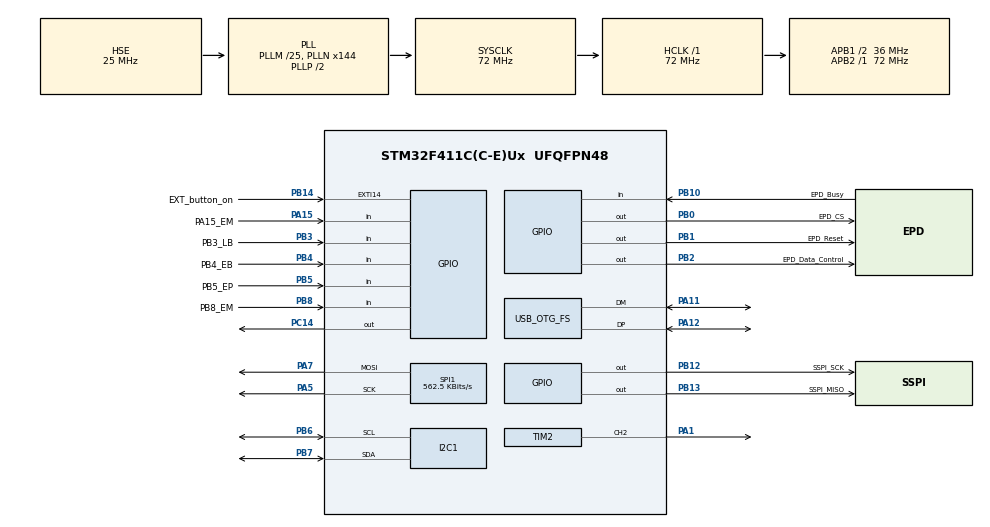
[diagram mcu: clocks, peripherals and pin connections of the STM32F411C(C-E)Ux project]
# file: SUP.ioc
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Dma.I2C1_RX.2.Direction=DMA_PERIPH_TO_MEMORY
Dma.I2C1_RX.2.FIFOMode=DMA_FIFOMODE_DISABLE
Dma.I2C1_RX.2.Instance=DMA1_Stream0
Dma.I2C1_RX.2.MemDataAlignment=DMA_MDATAALIGN_HALFWORD
Dma.I2C1_RX.2.MemInc=DMA_MINC_DISABLE
Dma.I2C1_RX.2.Mode=DMA_NORMAL
Dma.I2C1_RX.2.PeriphDataAlignment=DMA_PDATAALIGN_HALFWORD
Dma.I2C1_RX.2.PeriphInc=DMA_PINC_DISABLE
Dma.I2C1_RX.2.Priority=DMA_PRIORITY_LOW
Dma.I2C1_TX.1.Direction=DMA_MEMORY_TO_PERIPH
Dma.I2C1_TX.1.FIFOMode=DMA_FIFOMODE_DISABLE
Dma.I2C1_TX.1.Instance=DMA1_Stream1
Dma.I2C1_TX.1.MemDataAlignment=DMA_MDATAALIGN_HALFWORD
Dma.I2C1_TX.1.MemInc=DMA_MINC_DISABLE
Dma.I2C1_TX.1.Mode=DMA_NORMAL
Dma.I2C1_TX.1.PeriphDataAlignment=DMA_PDATAALIGN_HALFWORD
Dma.I2C1_TX.1.PeriphInc=DMA_PINC_DISABLE
Dma.I2C1_TX.1.Priority=DMA_PRIORITY_LOW
Dma.Request0=TIM2_CH2/CH4
Dma.Request1=I2C1_TX
Dma.Request2=I2C1_RX
Dma.TIM2_CH2/CH4.0.Direction=DMA_MEMORY_TO_PERIPH
Dma.TIM2_CH2/CH4.0.FIFOMode=DMA_FIFOMODE_ENABLE
Dma.TIM2_CH2/CH4.0.FIFOThreshold=DMA_FIFO_THRESHOLD_FULL
Dma.TIM2_CH2/CH4.0.Instance=DMA1_Stream6
Dma.TIM2_CH2/CH4.0.MemBurst=DMA_MBURST_SINGLE
Dma.TIM2_CH2/CH4.0.MemDataAlignment=DMA_MDATAALIGN_BYTE
Dma.TIM2_CH2/CH4.0.MemInc=DMA_MINC_ENABLE
Dma.TIM2_CH2/CH4.0.Mode=DMA_CIRCULAR
Dma.TIM2_CH2/CH4.0.PeriphBurst=DMA_PBURST_SINGLE
Dma.TIM2_CH2/CH4.0.PeriphDataAlignment=DMA_PDATAALIGN_WORD
Dma.TIM2_CH2/CH4.0.PeriphInc=DMA_PINC_DISABLE
Dma.TIM2_CH2/CH4.0.Priority=DMA_PRIORITY_LOW
FREERTOS.Mutexes01=BlockI2C,Dynamic,NULL
FREERTOS.Tasks01=InitTask,24,512,StartInitTask,Default,NULL,Dynamic,NULL,NULL
FREERTOS.Timers01=TestTimer,CallbackTT,osTimerPeriodic,Default,NULL,Dynamic,NULL
FREERTOS.configUSE_NEWLIB_REENTRANT=1
I2C1.I2C_Mode=I2C_Standard
Mcu.Family=STM32F4
Mcu.Name=STM32F411C(C-E)Ux
Mcu.Package=UFQFPN48
NVIC.DMA1_Stream0_IRQn=true\:5\:0\:false\:false\:true\:true\:false\:true\:true
NVIC.DMA1_Stream1_IRQn=true\:5\:0\:false\:false\:true\:true\:false\:true\:true
NVIC.DMA1_Stream6_IRQn=true\:5\:0\:false\:false\:true\:true\:false\:true\:true
NVIC.EXTI15_10_IRQn=true\:5\:0\:false\:false\:true\:true\:true\:true\:true
NVIC.I2C1_ER_IRQn=true\:5\:0\:false\:false\:true\:true\:true\:true\:true
NVIC.I2C1_EV_IRQn=true\:5\:0\:false\:false\:true\:true\:true\:true\:true
NVIC.OTG_FS_IRQn=true\:5\:0\:false\:false\:true\:true\:false\:true\:true
NVIC.PriorityGroup=NVIC_PRIORITYGROUP_4
NVIC.TIM1_BRK_TIM9_IRQn=true\:15\:0\:false\:false\:true\:false\:false\:true\:true
NVIC.TimeBase=TIM1_BRK_TIM9_IRQn
NVIC.TimeBaseIP=TIM9
PA1.GPIO_Speed=GPIO_SPEED_FREQ_HIGH
PA1.Signal=S_TIM2_CH2
PA11.Mode=Device_Only
PA11.Signal=USB_OTG_FS_DM
PA12.Mode=Device_Only
PA12.Signal=USB_OTG_FS_DP
PA13.Mode=Serial_Wire
PA13.Signal=SYS_JTMS-SWDIO
PA14.Mode=Serial_Wire
PA14.Signal=SYS_JTCK-SWCLK
PA15.GPIO_Label=PA15_EM
PA15.GPIO_PuPd=GPIO_PULLDOWN
PA15.Signal=GPIO_Input
PA5.Mode=TX_Only_Simplex_Unidirect_Master
PA5.Signal=SPI1_SCK
PA7.Mode=TX_Only_Simplex_Unidirect_Master
PA7.Signal=SPI1_MOSI
PB0.GPIO_Label=EPD_CS
PB0.Signal=GPIO_Output
PB1.GPIO_Label=EPD_Reset
PB1.Signal=GPIO_Output
PB10.GPIO_Label=EPD_Busy
PB10.GPIO_PuPd=GPIO_PULLDOWN
PB10.Signal=GPIO_Input
PB12.GPIO_Label=SSPI_SCK
PB12.Signal=GPIO_Output
PB13.GPIO_Label=SSPI_MISO
PB13.Signal=GPIO_Output
PB14.GPIO_Label=EXT_button_on
PB14.GPIO_ModeDefaultEXTI=GPIO_MODE_IT_FALLING
PB14.GPIO_PuPd=GPIO_PULLUP
PB14.Signal=GPXTI14
PB2.GPIO_Label=EPD_Data_Control
PB2.Signal=GPIO_Output
PB3.GPIO_Label=PB3_LB
PB3.GPIO_PuPd=GPIO_PULLDOWN
PB3.Signal=GPIO_Input
PB4.GPIO_Label=PB4_EB
PB4.GPIO_PuPd=GPIO_PULLDOWN
PB4.Signal=GPIO_Input
PB5.GPIO_Label=PB5_EP
PB5.GPIO_PuPd=GPIO_PULLDOWN
PB5.Signal=GPIO_Input
PB6.Mode=I2C
PB6.Signal=I2C1_SCL
PB7.Mode=I2C
PB7.Signal=I2C1_SDA
PB8.GPIO_Label=PB8_EM
PB8.GPIO_PuPd=GPIO_PULLUP
PB8.Signal=GPIO_Input
PC14-OSC32_IN.Signal=GPIO_Output
PH0\ -\ OSC_IN.Mode=HSE-External-Oscillator
PH0\ -\ OSC_IN.Signal=RCC_OSC_IN
PH1\ -\ OSC_OUT.Mode=HSE-External-Oscillator
PH1\ -\ OSC_OUT.Signal=RCC_OSC_OUT
ProjectManager.HeapSize=0x3000
ProjectManager.StackSize=0x5000
ProjectManager.TargetToolchain=STM32CubeIDE
RCC.48MHZClocksFreq_Value=48000000
RCC.AHBFreq_Value=72000000
RCC.APB1CLKDivider=RCC_HCLK_DIV2
RCC.APB1Freq_Value=36000000
RCC.APB1TimFreq_Value=72000000
RCC.APB2Freq_Value=72000000
RCC.APB2TimFreq_Value=72000000
RCC.CortexFreq_Value=72000000
RCC.HCLKFreq_Value=72000000
RCC.HSE_VALUE=25000000
RCC.HSI_VALUE=16000000
RCC.LSE_VALUE=32768
RCC.PLLM=25
RCC.PLLN=144
RCC.PLLQ=3
RCC.SYSCLKFreq_VALUE=72000000
RCC.SYSCLKSource=RCC_SYSCLKSOURCE_PLLCLK
RCC.VCOOutputFreq_Value=144000000
SH.S_TIM2_CH2.0=TIM2_CH2,PWM Generation2 CH2
SPI1.BaudRatePrescaler=SPI_BAUDRATEPRESCALER_128
SPI1.CalculateBaudRate=562.5 KBits/s
SPI1.Direction=SPI_DIRECTION_2LINES
SPI1.Mode=SPI_MODE_MASTER
SPI1.VirtualType=VM_MASTER
TIM2.Channel-PWM\ Generation2\ CH2=TIM_CHANNEL_2
TIM2.Period=89
USB_DEVICE.APP_RX_DATA_SIZE=1024
USB_DEVICE.APP_TX_DATA_SIZE=1024
USB_DEVICE.CLASS_NAME_FS=CDC
USB_DEVICE.USBD_DEBUG_LEVEL=0
USB_DEVICE.VirtualMode=Cdc
USB_DEVICE.VirtualModeFS=Cdc_FS
USB_OTG_FS.VirtualMode=Device_Only
VP_FREERTOS_VS_CMSIS_V2.Mode=CMSIS_V2
VP_SYS_VS_tim9.Mode=TIM9
VP_TIM2_VS_ClockSourceINT.Mode=Internal
VP_USB_DEVICE_VS_USB_DEVICE_CDC_FS.Mode=CDC_FS
board=custom

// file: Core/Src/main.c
/* USER CODE BEGIN Header */
/**
  ******************************************************************************
  * @file           : main.c
  * @brief          : Main program body
  ******************************************************************************
  * @attention
  *
  * Copyright (c) 2023 STMicroelectronics.
  * All rights reserved.
  *
  * This software is licensed under terms that can be found in the LICENSE file
  * in the root directory of this software component.
  * If no LICENSE file comes with this software, it is provided AS-IS.
  *
  ******************************************************************************
  */
/* USER CODE END Header */
#include "main.h"
#include "cmsis_os.h"
#include "usb_device.h"

/* USER CODE BEGIN Includes */
//#include "Display/e-ink/picture.h"
#include "app_menu/app_menu.h"
#include <stdlib.h>

/* Private includes ----------------------------------------------------------*/
/* USER CODE BEGIN Includes */
/* USER CODE END Includes */

/* USER CODE BEGIN PTD */
//uint16_t global_DAC;

/* USER CODE END PTD */

/* USER CODE BEGIN PM */
uint8_t devises_list[10] = {};
HAL_StatusTypeDef stateDevise;
HAL_StatusTypeDef stateEXP_GPIO;
/* USER CODE END PM */

I2C_HandleTypeDef hi2c1;
DMA_HandleTypeDef hdma_i2c1_tx;
DMA_HandleTypeDef hdma_i2c1_rx;

SPI_HandleTypeDef hspi1;

TIM_HandleTypeDef htim2;
DMA_HandleTypeDef hdma_tim2_ch2_ch4;

/* Definitions for InitTask */
osThreadId_t InitTaskHandle;
const osThreadAttr_t InitTask_attributes = {
  .name = "InitTask",
  .stack_size = 512 * 4,
  .priority = (osPriority_t) osPriorityNormal,
};
/* Definitions for TestTimer */
osTimerId_t TestTimerHandle;
const osTimerAttr_t TestTimer_attributes = {
  .name = "TestTimer"
};
/* Definitions for BlockI2C */
osMutexId_t BlockI2CHandle;
const osMutexAttr_t BlockI2C_attributes = {
  .name = "BlockI2C"
};

void SystemClock_Config(void);
static void MX_GPIO_Init(void);
static void MX_DMA_Init(void);
static void MX_I2C1_Init(void);
static void MX_SPI1_Init(void);
static void MX_TIM2_Init(void);
void StartInitTask(void *argument);
void CallbackTT(void *argument);

int main(void)
{
  /* MCU Configuration--------------------------------------------------------*/

  /* Reset of all peripherals, Initializes the Flash interface and the Systick. */
  HAL_Init();

  /* Configure the system clock */
  SystemClock_Config();

  /* Initialize all configured peripherals */
  MX_GPIO_Init();
  MX_DMA_Init();
  MX_I2C1_Init();
  MX_SPI1_Init();
  MX_TIM2_Init();
  /* USER CODE BEGIN 2 */
  HAL_Delay(500);
  HAL_StatusTypeDef state;
  uint8_t adr_i2c[8] = {0};
  uint8_t j = 0;
  for(uint8_t i = 1; i < 128; i++){
	  state = HAL_I2C_IsDeviceReady(&hi2c1, (i << 1), 2, 5);
	  if(state == HAL_OK){
		  adr_i2c[j] = i;
		  j++;
	  }
  }
  BlockI2CHandle = osMutexNew(&BlockI2C_attributes);
    /* USER CODE END 2 */

  /* Init scheduler */
  osKernelInitialize();
  /* Create the mutex(es) */
  /* creation of BlockI2C */
  BlockI2CHandle = osMutexNew(&BlockI2C_attributes);

  /* Create the timer(s) */
  /* creation of TestTimer */
  TestTimerHandle = osTimerNew(CallbackTT, osTimerPeriodic, NULL, &TestTimer_attributes);

  /* Create the thread(s) */
  /* creation of InitTask */
  InitTaskHandle = osThreadNew(StartInitTask, NULL, &InitTask_attributes);

  /* USER CODE BEGIN RTOS_THREADS */
  /* add threads, ... */
  initUserTasks();
  /* USER CODE END RTOS_THREADS */

  /* Start scheduler */
  osKernelStart();

  /* We should never get here as control is now taken by the scheduler */
  /* Infinite loop */
  while (1)
  {

  }
}

void SystemClock_Config(void)
{
  RCC_OscInitTypeDef RCC_OscInitStruct = {0};
  RCC_ClkInitTypeDef RCC_ClkInitStruct = {0};

  /** Configure the main internal regulator output voltage
  */
  __HAL_RCC_PWR_CLK_ENABLE();
  __HAL_PWR_VOLTAGESCALING_CONFIG(PWR_REGULATOR_VOLTAGE_SCALE1);

  /** Initializes the RCC Oscillators according to the specified parameters
  * in the RCC_OscInitTypeDef structure.
  */
  RCC_OscInitStruct.OscillatorType = RCC_OSCILLATORTYPE_HSE;
  RCC_OscInitStruct.HSEState = RCC_HSE_ON;
  RCC_OscInitStruct.PLL.PLLState = RCC_PLL_ON;
  RCC_OscInitStruct.PLL.PLLSource = RCC_PLLSOURCE_HSE;
  RCC_OscInitStruct.PLL.PLLM = 25;
  RCC_OscInitStruct.PLL.PLLN = 144;
  RCC_OscInitStruct.PLL.PLLP = RCC_PLLP_DIV2;
  RCC_OscInitStruct.PLL.PLLQ = 3;
  if (HAL_RCC_OscConfig(&RCC_OscInitStruct) != HAL_OK)
  {
    Error_Handler();
  }

  /** Initializes the CPU, AHB and APB buses clocks
  */
  RCC_ClkInitStruct.ClockType = RCC_CLOCKTYPE_HCLK|RCC_CLOCKTYPE_SYSCLK
                              |RCC_CLOCKTYPE_PCLK1|RCC_CLOCKTYPE_PCLK2;
  RCC_ClkInitStruct.SYSCLKSource = RCC_SYSCLKSOURCE_PLLCLK;
  RCC_ClkInitStruct.AHBCLKDivider = RCC_SYSCLK_DIV1;
  RCC_ClkInitStruct.APB1CLKDivider = RCC_HCLK_DIV2;
  RCC_ClkInitStruct.APB2CLKDivider = RCC_HCLK_DIV1;

  if (HAL_RCC_ClockConfig(&RCC_ClkInitStruct, FLASH_LATENCY_2) != HAL_OK)
  {
    Error_Handler();
  }
}

static void MX_I2C1_Init(void)
{

  hi2c1.Instance = I2C1;
  hi2c1.Init.ClockSpeed = 100000;
  hi2c1.Init.DutyCycle = I2C_DUTYCYCLE_2;
  hi2c1.Init.OwnAddress1 = 0;
  hi2c1.Init.AddressingMode = I2C_ADDRESSINGMODE_7BIT;
  hi2c1.Init.DualAddressMode = I2C_DUALADDRESS_DISABLE;
  hi2c1.Init.OwnAddress2 = 0;
  hi2c1.Init.GeneralCallMode = I2C_GENERALCALL_DISABLE;
  hi2c1.Init.NoStretchMode = I2C_NOSTRETCH_DISABLE;
  if (HAL_I2C_Init(&hi2c1) != HAL_OK)
  {
    Error_Handler();
  }

}

static void MX_SPI1_Init(void)
{

  /* SPI1 parameter configuration*/
  hspi1.Instance = SPI1;
  hspi1.Init.Mode = SPI_MODE_MASTER;
  hspi1.Init.Direction = SPI_DIRECTION_2LINES;
  hspi1.Init.DataSize = SPI_DATASIZE_8BIT;
  hspi1.Init.CLKPolarity = SPI_POLARITY_LOW;
  hspi1.Init.CLKPhase = SPI_PHASE_1EDGE;
  hspi1.Init.NSS = SPI_NSS_SOFT;
  hspi1.Init.BaudRatePrescaler = SPI_BAUDRATEPRESCALER_128;
  hspi1.Init.FirstBit = SPI_FIRSTBIT_MSB;
  hspi1.Init.TIMode = SPI_TIMODE_DISABLE;
  hspi1.Init.CRCCalculation = SPI_CRCCALCULATION_DISABLE;
  hspi1.Init.CRCPolynomial = 10;
  if (HAL_SPI_Init(&hspi1) != HAL_OK)
  {
    Error_Handler();
  }

}

static void MX_TIM2_Init(void)
{

  TIM_ClockConfigTypeDef sClockSourceConfig = {0};
  TIM_MasterConfigTypeDef sMasterConfig = {0};
  TIM_OC_InitTypeDef sConfigOC = {0};

  htim2.Instance = TIM2;
  htim2.Init.Prescaler = 0;
  htim2.Init.CounterMode = TIM_COUNTERMODE_UP;
  htim2.Init.Period = 89;
  htim2.Init.ClockDivision = TIM_CLOCKDIVISION_DIV1;
  htim2.Init.AutoReloadPreload = TIM_AUTORELOAD_PRELOAD_DISABLE;
  if (HAL_TIM_Base_Init(&htim2) != HAL_OK)
  {
    Error_Handler();
  }
  sClockSourceConfig.ClockSource = TIM_CLOCKSOURCE_INTERNAL;
  if (HAL_TIM_ConfigClockSource(&htim2, &sClockSourceConfig) != HAL_OK)
  {
    Error_Handler();
  }
  if (HAL_TIM_PWM_Init(&htim2) != HAL_OK)
  {
    Error_Handler();
  }
  sMasterConfig.MasterOutputTrigger = TIM_TRGO_RESET;
  sMasterConfig.MasterSlaveMode = TIM_MASTERSLAVEMODE_DISABLE;
  if (HAL_TIMEx_MasterConfigSynchronization(&htim2, &sMasterConfig) != HAL_OK)
  {
    Error_Handler();
  }
  sConfigOC.OCMode = TIM_OCMODE_PWM1;
  sConfigOC.Pulse = 0;
  sConfigOC.OCPolarity = TIM_OCPOLARITY_HIGH;
  sConfigOC.OCFastMode = TIM_OCFAST_DISABLE;
  if (HAL_TIM_PWM_ConfigChannel(&htim2, &sConfigOC, TIM_CHANNEL_2) != HAL_OK)
  {
    Error_Handler();
  }
  HAL_TIM_MspPostInit(&htim2);

}

static void MX_DMA_Init(void)
{

  /* DMA controller clock enable */
  __HAL_RCC_DMA1_CLK_ENABLE();

  /* DMA interrupt init */
  /* DMA1_Stream0_IRQn interrupt configuration */
  HAL_NVIC_SetPriority(DMA1_Stream0_IRQn, 5, 0);
  HAL_NVIC_EnableIRQ(DMA1_Stream0_IRQn);
  /* DMA1_Stream1_IRQn interrupt configuration */
  HAL_NVIC_SetPriority(DMA1_Stream1_IRQn, 5, 0);
  HAL_NVIC_EnableIRQ(DMA1_Stream1_IRQn);
  /* DMA1_Stream6_IRQn interrupt configuration */
  HAL_NVIC_SetPriority(DMA1_Stream6_IRQn, 5, 0);
  HAL_NVIC_EnableIRQ(DMA1_Stream6_IRQn);

}

static void MX_GPIO_Init(void)
{
  GPIO_InitTypeDef GPIO_InitStruct = {0};

  /* GPIO Ports Clock Enable */
  __HAL_RCC_GPIOC_CLK_ENABLE();
  __HAL_RCC_GPIOH_CLK_ENABLE();
  __HAL_RCC_GPIOA_CLK_ENABLE();
  __HAL_RCC_GPIOB_CLK_ENABLE();

  /*Configure GPIO pin Output Level */
  HAL_GPIO_WritePin(GPIOC, GPIO_PIN_14, GPIO_PIN_RESET);

  /*Configure GPIO pin Output Level */
  HAL_GPIO_WritePin(GPIOB, EPD_CS_Pin|EPD_Reset_Pin|EPD_Data_Control_Pin|SSPI_SCK_Pin
                          |SSPI_MISO_Pin, GPIO_PIN_RESET);

  /*Configure GPIO pin : PC14 */
  GPIO_InitStruct.Pin = GPIO_PIN_14;
  GPIO_InitStruct.Mode = GPIO_MODE_OUTPUT_PP;
  GPIO_InitStruct.Pull = GPIO_NOPULL;
  GPIO_InitStruct.Speed = GPIO_SPEED_FREQ_LOW;
  HAL_GPIO_Init(GPIOC, &GPIO_InitStruct);

  /*Configure GPIO pins : EPD_CS_Pin EPD_Reset_Pin EPD_Data_Control_Pin SSPI_SCK_Pin
                           SSPI_MISO_Pin */
  GPIO_InitStruct.Pin = EPD_CS_Pin|EPD_Reset_Pin|EPD_Data_Control_Pin|SSPI_SCK_Pin
                          |SSPI_MISO_Pin;
  GPIO_InitStruct.Mode = GPIO_MODE_OUTPUT_PP;
  GPIO_InitStruct.Pull = GPIO_NOPULL;
  GPIO_InitStruct.Speed = GPIO_SPEED_FREQ_LOW;
  HAL_GPIO_Init(GPIOB, &GPIO_InitStruct);

  /*Configure GPIO pins : EPD_Busy_Pin PB3_LB_Pin PB4_EB_Pin PB5_EP_Pin */
  GPIO_InitStruct.Pin = EPD_Busy_Pin|PB3_LB_Pin|PB4_EB_Pin|PB5_EP_Pin;
  GPIO_InitStruct.Mode = GPIO_MODE_INPUT;
  GPIO_InitStruct.Pull = GPIO_PULLDOWN;
  HAL_GPIO_Init(GPIOB, &GPIO_InitStruct);

  /*Configure GPIO pin : EXT_button_on_Pin */
  GPIO_InitStruct.Pin = EXT_button_on_Pin;
  GPIO_InitStruct.Mode = GPIO_MODE_IT_FALLING;
  GPIO_InitStruct.Pull = GPIO_PULLUP;
  HAL_GPIO_Init(EXT_button_on_GPIO_Port, &GPIO_InitStruct);

  /*Configure GPIO pin : PA15_EM_Pin */
  GPIO_InitStruct.Pin = PA15_EM_Pin;
  GPIO_InitStruct.Mode = GPIO_MODE_INPUT;
  GPIO_InitStruct.Pull = GPIO_PULLDOWN;
  HAL_GPIO_Init(PA15_EM_GPIO_Port, &GPIO_InitStruct);

  /*Configure GPIO pin : PB8_EM_Pin */
  GPIO_InitStruct.Pin = PB8_EM_Pin;
  GPIO_InitStruct.Mode = GPIO_MODE_INPUT;
  GPIO_InitStruct.Pull = GPIO_PULLUP;
  HAL_GPIO_Init(PB8_EM_GPIO_Port, &GPIO_InitStruct);

  /* EXTI interrupt init*/
  HAL_NVIC_SetPriority(EXTI15_10_IRQn, 5, 0);
  HAL_NVIC_EnableIRQ(EXTI15_10_IRQn);

}

void StartInitTask(void *argument)
{
  /* init code for USB_DEVICE */
  MX_USB_DEVICE_Init();
  /* USER CODE BEGIN 5 */
  /* Infinite loop */
	  for(;;)
	  {
	    osDelay(1000);
	  }
  /* USER CODE END 5 */
}

/* CallbackTT function */
void CallbackTT(void *argument)
{
}

void HAL_TIM_PeriodElapsedCallback(TIM_HandleTypeDef *htim)
{
  if (htim->Instance == TIM9) {
    HAL_IncTick();
  }
}

void Error_Handler(void)
{
  __disable_irq();
  while (1)
  {
  }
}
